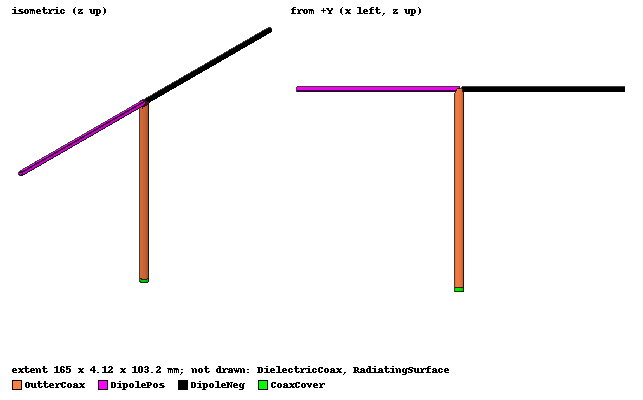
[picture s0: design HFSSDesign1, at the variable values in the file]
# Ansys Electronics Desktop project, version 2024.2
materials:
  vacuum: permittivity=1
  graphite: conductivity=70000
  pec: conductivity=1e+30

design HFSSDesign1 (HFSS, HFSS Terminal Network, model units mm)
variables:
  TubingThicknes = 2mm
  TubingRadius = 3in
  TubingHeight = 200mm
  InnerCoaxDiameter = 1.12mm
  DielectricCoaxDiameter = 3mm
  OuterCoaxDiameter = 4.12mm
  WireRadius = 1.2mm
  SpeedOfLight = 300000000m_per_sec
  WavePeriod = 1.09e-09s
  RadiatingSurface_X = 300mm
  RadiatingSurface_Y = 200mm
  RadiatingSurface_Z = 200mm
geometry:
  InnerCoax [pec] = cylinder(axis=Z, base_centre=(0in, 0in, 0in), radius=InnerCoaxDiameter/2, height=TubingHeight/2)
  InnerCoax_1 = InnerCoax.copy()
  InnerCoax_2 = InnerCoax.copy()
  DielectricCoax [vacuum] = cylinder(axis=Z, base_centre=(0in, 0in, 0in), radius=DielectricCoaxDiameter/2, height=TubingHeight/2)
  DielectricCoax.subtract(InnerCoax_1)
  DielectricCoax_1 = DielectricCoax.copy()
  OutterCoax [pec] = cylinder(axis=Z, base_centre=(0in, 0in, 0in), radius=OuterCoaxDiameter/2, height=TubingHeight/2)
  OutterCoax.subtract(DielectricCoax_1, InnerCoax_2)
  CoaxCover [pec] = cylinder(axis=Z, base_centre=(0in, 0in, 0in), radius=OuterCoaxDiameter/2, height=-2mm)
  DipolePos [pec] = cylinder(axis=X, base_centre=(0mm, 0mm, TubingHeight/2), radius=WireRadius, height=SpeedOfLight*WavePeriod/4)
  DipolePosCutOut = cylinder(axis=X, base_centre=(0mm, 0mm, TubingHeight/2), radius=WireRadius+0.5mm, height=SpeedOfLight*WavePeriod/4)
  OutterCoax.subtract(DipolePosCutOut)
  DipolePos_1 = DipolePos.copy()
  DielectricCoax.subtract(DipolePos_1)
  DipoleNeg [pec] = cylinder(axis=X, base_centre=(-DielectricCoaxDiameter/2, 0mm, TubingHeight/2), radius=WireRadius, height=-(SpeedOfLight*WavePeriod/4))
  OutterCoax_1 = OutterCoax.copy()
  DipoleNeg.subtract(OutterCoax_1)
  InnerCoax_3 = InnerCoax.copy()
  DipolePos.subtract(InnerCoax_3)
  RadiatingSurface [vacuum] = box(corner=(-RadiatingSurface_X/2, -RadiatingSurface_Y/2, 0mm), size=(RadiatingSurface_X, RadiatingSurface_Y, RadiatingSurface_Z))
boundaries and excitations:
  Rad1: Radiation Objects=RadiatingSurface
  1: Wave Port Faces=DielectricCoax.face(-z end) WavePortType=Modal NumModes=1 Modes{Mode1{CharImp=Zpi}}
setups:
  Setup2: HfssDrivenAuto AutoSolverSetting=Balanced InfiniteSphereSetup=21 Type=Interpolating
    sweep Sweep: 815MHz to 1.015GHz, 501 points;
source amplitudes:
  1:1: 1V 0deg
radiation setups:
  Infinite Sphere1: Infinite Sphere Theta=0deg..180deg step 2deg Phi=-180deg..180deg step 2deg
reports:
  Gain Plot 1: dB(GainTotal) vs Phi, Theta on Setup2 : LastAdaptive, Infinite Sphere1 [Freq=0.915GHz]
  Terminal Z Parameter Plot 1: re(Zt(1,1)), im(Zt(1,1)) vs Freq on Setup2 : Sweep; markers m1 at 0.915GHz, m2 at 0.915GHz
